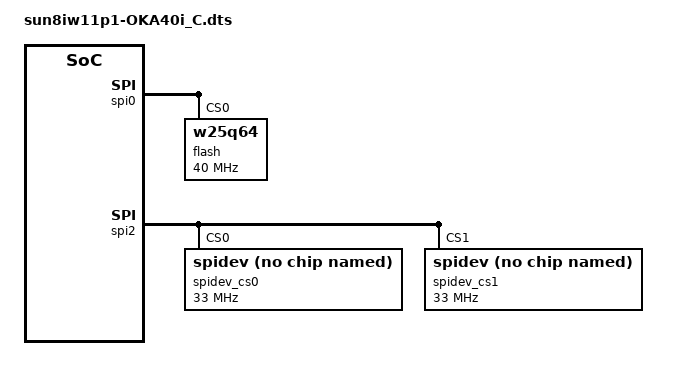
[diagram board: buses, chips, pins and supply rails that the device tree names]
/*
 * Allwinner Technology CO., Ltd. sun8iw11p1 soc board.
 *
 */

/dts-v1/;

#include "sun8iw11p1.dtsi"

/{

	soc@01c00000 {
	};

	wlan:wlan {
		compatible = "allwinner,sunxi-wlan";
		clocks = <&clk_outa>;
		wlan_busnum = <1>;
		status = "okay";
	};

	bt:bt {
		compatible = "allwinner,sunxi-bt";
		status = "okay";
	};

	btlpm:btlpm {
		compatible = "allwinner,sunxi-btlpm";
		status = "okay";
	};

        gps:gps {
                compatible = "allwinner,sunxi-gps";
                clocks = <&clk_outb>;
                status = "disabled";
        };
};
&spi0 {
       spi0_cs_number = <1>;
       spi0_cs_bitmap = <1>;

       status = "okay";

       flash:m25p80@0{
                 #address-cells=<1>;
                 #size-cells=<1>;
                 compatible = "w25q64";
                 reg=<0>;
                 spi-max-frequency=<40000000>;
                 mode=<0>;
                 m25p,fast-read;
      };

};
&spi2 {
      status = "okay";

      spidev_cs0:spi2_cs0@0{
                 #address-cells=<1>;
                 #size-cells=<1>;
                 compatible = "spidev";
                 spi-max-frequency = <33000000>;
                 reg               = <0>;
                 mode=<0>;
      };

      spidev_cs1:spi2_cs1@1{
                 #address-cells=<1>;
                 #size-cells=<1>;
                 compatible = "spidev";
                 spi-max-frequency = <33000000>;
                 reg               = <1>;
                 mode=<0>;

      };
};
